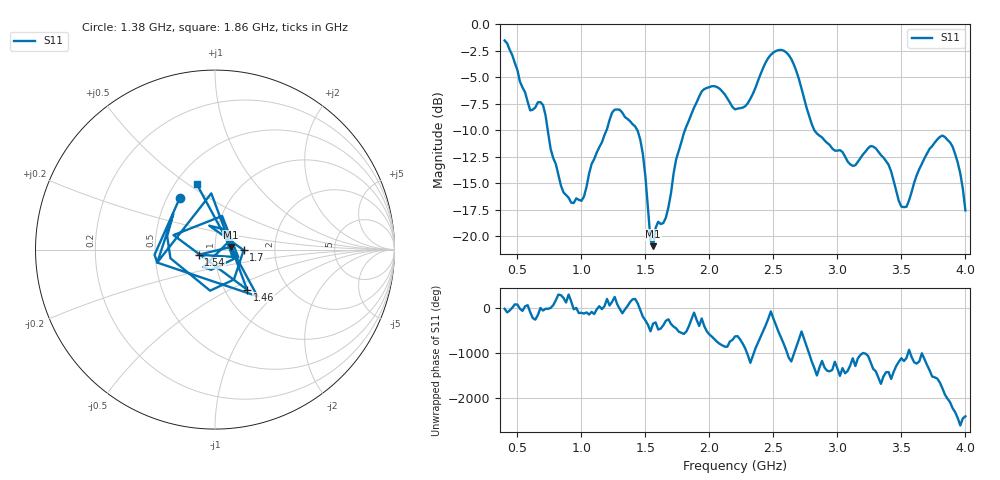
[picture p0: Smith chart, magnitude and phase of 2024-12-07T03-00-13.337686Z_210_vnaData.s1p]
!Created with skrf (http://scikit-rf.org).
# Hz S RI R 50.0
!freq ReS11 ImS11
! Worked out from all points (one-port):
!   181 points, 400 MHz to 4 GHz, reference 50 ohm
!   lowest |S11| = -20.9 dB at 1.56 GHz (marker M1), VSWR 1.20, Z = 59.7 + j1.78 ohm
!   |S11| at or under -10 dB: 737.1 MHz to 1.196 GHz (458.9 MHz wide, 47.5 % of centre); 1.437 GHz to 1.809 GHz (371.6 MHz wide, 22.9 % of centre); 2.82 GHz to end of sweep
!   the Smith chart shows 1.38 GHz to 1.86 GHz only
!   S11 on the Smith chart (normalised r, x): 1.38 GHz: 0.58, +0.38; 1.46 GHz: 1.27, -0.61; 1.54 GHz: 0.83, -0.05; 1.7 GHz: 1.38, -0.01; 1.86 GHz: 0.64, +0.54
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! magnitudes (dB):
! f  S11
! 400 MHz  -1.5
! 600 MHz  -8.1
! 700 MHz  -7.6
! 860 MHz  -15.9
! 1 GHz  -16.7
! 1.24 GHz  -8.3
! 1.3 GHz  -8.1
! 1.38 GHz  -9.1
! 1.46 GHz  -10.9
! 1.5 GHz  -14.4
! 1.54 GHz  -20.4
! 1.56 GHz  -20.9
! 1.7 GHz  -15.9
! 1.76 GHz  -11.9
! 1.86 GHz  -8.5
! 2.02 GHz  -5.8
! 2.2 GHz  -8.0
! 2.5 GHz  -2.7
! 2.66 GHz  -3.8
! 2.82 GHz  -10.0
! 3.1 GHz  -13.2
! 3.28 GHz  -11.5
! 3.4 GHz  -13.3
! 3.5 GHz  -17.2
! 3.56 GHz  -16.6
! 3.82 GHz  -10.5
! 3.92 GHz  -12.2
! 4 GHz  -17.6
